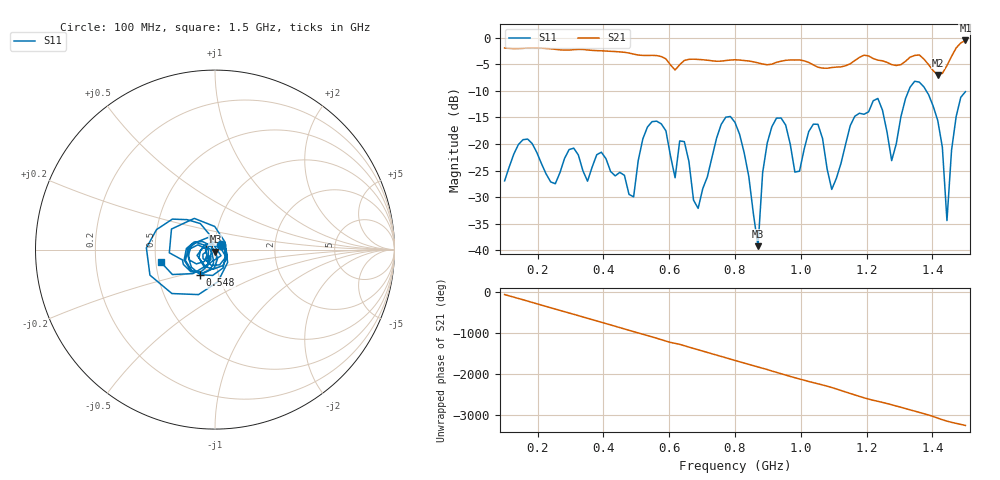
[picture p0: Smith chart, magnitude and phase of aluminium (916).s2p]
! NanoVNA-App
! Date: 2025-09-25 15:02:25
! Start: 100MHz Stop: 1,5GHz Points: 101
! S-Parameter data: F S11 S21 S12 S22
# Hz S RI R 50
!  Frequency  S11_Real  S11_Imag  S21_Real  S21_Imag  S12_Real  S12_Imag  S22_Real  S22_Imag
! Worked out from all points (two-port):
!   101 points, 100 MHz to 1.5 GHz, reference 50 ohm
!   highest |S21| = -0.50 dB at 1.5 GHz (marker M1); lowest = -7.0 dB at 1.416 GHz (marker M2)
!   |S21| within 3 dB of the highest: start of sweep to 573.5 MHz; 1.458 GHz to end of sweep (the widest 2 of 4)
!   lowest |S11| = -39.3 dB at 870 MHz (marker M3), VSWR 1.02, Z = 50.2 - j1.06 ohm
!   |S11| at or under -10 dB: start of sweep to 1.327 GHz; 1.381 GHz to end of sweep
!   S12 and S22 are empty: the file has one direction only
!   S11 on the Smith chart (normalised r, x): 100 MHz: 1.07, +0.06; 548 MHz: 0.82, -0.24; 1.5 GHz: 0.53, -0.08
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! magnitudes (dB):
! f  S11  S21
! 100 MHz  -27.0  -1.9
! 170 MHz  -19.1  -1.9
! 338 MHz  -25.1  -2.2
! 492 MHz  -30.0  -3.1
! 548 MHz  -15.8  -3.3
! 576 MHz  -16.2  -3.5
! 618 MHz  -26.4  -6.1
! 646 MHz  -19.6  -4.3
! 688 MHz  -32.1  -4.1
! 800 MHz  -15.9  -4.1
! 870 MHz  -39.3  -4.7
! 912 MHz  -16.7  -5.0
! 982 MHz  -25.3  -4.2
! 1.038 GHz  -16.3  -5.1
! 1.094 GHz  -28.6  -5.6
! 1.234 GHz  -11.4  -4.2
! 1.276 GHz  -23.1  -5.1
! 1.346 GHz  -8.2  -3.3
! 1.416 GHz  -15.6  -7.0
! 1.444 GHz  -34.4  -5.2
! 1.472 GHz  -14.8  -1.9
! 1.5 GHz  -10.2  -0.5
